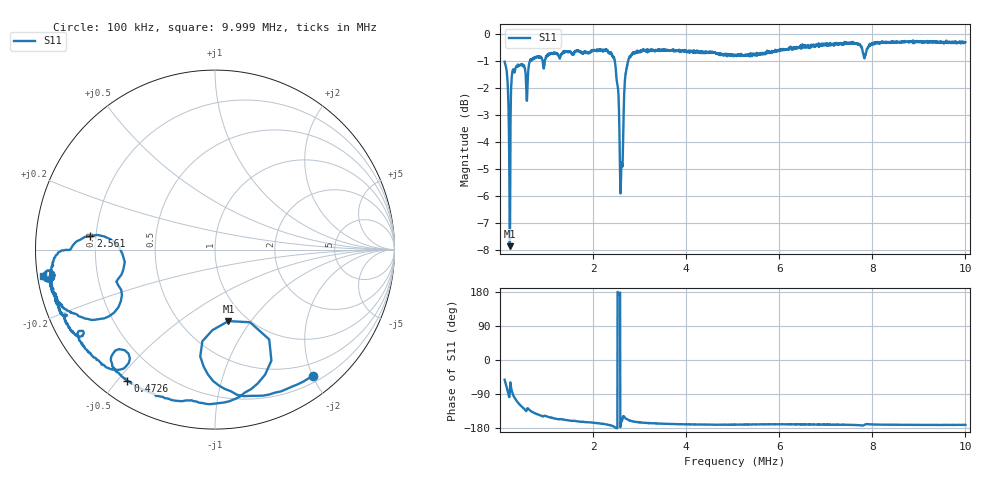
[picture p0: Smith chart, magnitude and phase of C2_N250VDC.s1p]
# HZ S RI R 50
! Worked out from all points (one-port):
!   2020 points, 100 kHz to 9.999 MHz, reference 50 ohm
!   lowest |S11| = -7.8 dB at 212.8 kHz (marker M1), VSWR 2.36, Z = 41.2 - j39.2 ohm
!   |S11| at or under -10 dB: nowhere
!   S11 on the Smith chart (normalised r, x): 100 kHz: 0.30, -2.01; 472.6 kHz: 0.08, -0.53; 2.561 MHz: 0.18, +0.05; 9.999 MHz: 0.02, -0.08
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100000  0.5467 -0.7022
139224  0.3023 -0.8073
163739  0.1218 -0.8084
212769  0.0748 -0.3982
261799  0.0796 -0.845
301023  -0.1051 -0.8459
379471  -0.3178 -0.815
472628  -0.4877 -0.7317
546173  -0.5771 -0.6273
644233  -0.6101 -0.6527
840353  -0.7392 -0.5207
1340459  -0.8478 -0.3681
2124939  -0.9111 -0.2077
2404410  -0.9116 -0.1023
2502470  -0.8304 -0.00104
2561306  -0.6949 0.0749
2576015  -0.5748 0.0535
2625045  -0.5392 -0.1986
2698590  -0.7613 -0.3711
2762329  -0.8367 -0.3317
2894710  -0.8831 -0.2679
3816474  -0.9181 -0.1737
5052030  -0.9006 -0.1485
6287586  -0.9299 -0.1665
7528045  -0.9535 -0.1511
7841837  -0.8969 -0.1538
8763601  -0.9577 -0.1509
9999157  -0.956 -0.1482
